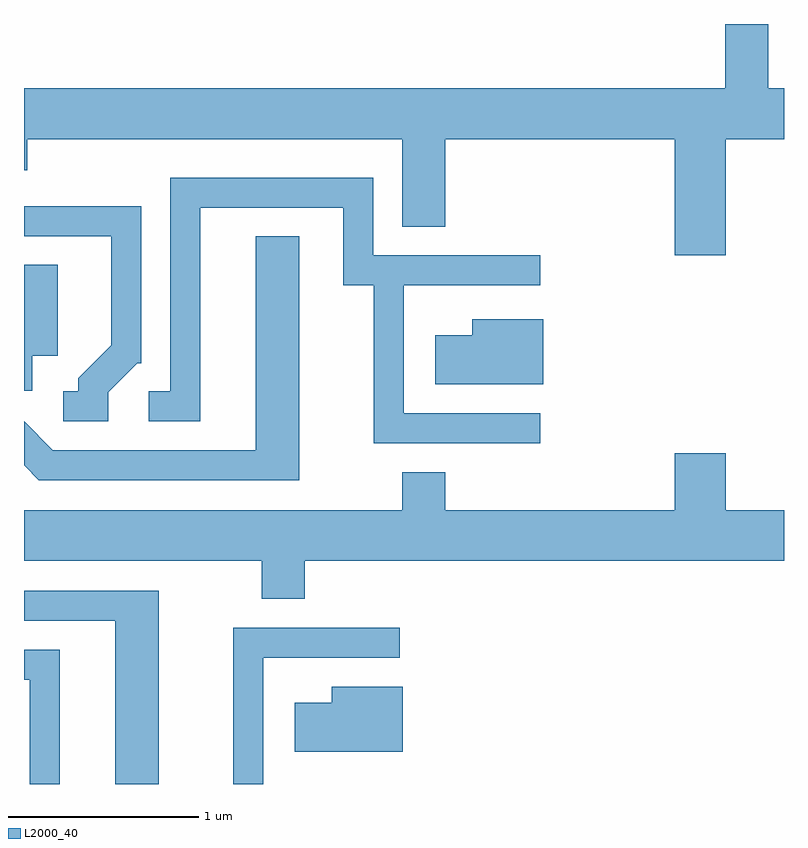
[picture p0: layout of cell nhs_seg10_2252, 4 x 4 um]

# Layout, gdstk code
import gdstk
lib = gdstk.Library(unit=1e-6, precision=1e-09)
def P(c, l, *ps):  # polygons
    for p in ps: c.add(gdstk.Polygon(p, *l))
L2000_40 = (2000, 40)

nhs_seg10_2252 = lib.new_cell('nhs_seg10_2252')
P(nhs_seg10_2252, L2000_40, [(255.304,2113.916),(255.611,2113.916),(255.611,2114.184),(255.529,2114.184),(255.529,2114.522),(255.301,2114.522),(255.301,2114.184),(251.611,2114.184),(251.611,2113.751),(251.629,2113.751),(251.629,2113.916),(253.601,2113.916),(253.601,2113.456),(253.829,2113.456),(253.829,2113.916),(255.036,2113.916),(255.036,2113.306),(255.304,2113.306)],
  [(254.328,2112.474),(253.609,2112.474),(253.609,2113.146),(254.328,2113.146),(254.328,2113.304),(253.449,2113.304),(253.449,2113.714),(252.381,2113.714),(252.381,2112.589),(252.268,2112.589),(252.268,2112.431),(252.539,2112.431),(252.539,2113.556),(253.291,2113.556),(253.291,2113.146),(253.451,2113.146),(253.451,2112.316),(254.328,2112.316)],
  [(252.054,2112.584),(252.207,2112.736),(252.229,2112.736),(252.229,2113.564),(251.611,2113.564),(251.611,2113.406),(252.071,2113.406),(252.071,2112.832),(251.896,2112.657),(251.896,2112.589),(251.818,2112.589),(251.818,2112.431),(252.054,2112.431)],
  [(253.059,2113.404),(252.831,2113.404),(252.831,2112.279),(251.762,2112.279),(251.611,2112.43),(251.611,2112.199),(251.689,2112.121),(253.059,2112.121)],
  [(251.654,2112.776),(251.789,2112.776),(251.789,2113.254),(251.611,2113.254),(251.611,2112.591),(251.654,2112.591)],
  [(254.344,2112.969),(253.971,2112.969),(253.971,2112.884),(253.776,2112.884),(253.776,2112.626),(254.344,2112.626)],
  [(253.089,2111.696),(255.611,2111.696),(255.611,2111.964),(255.304,2111.964),(255.304,2112.264),(255.036,2112.264),(255.036,2111.964),(253.829,2111.964),(253.829,2112.164),(253.601,2112.164),(253.601,2111.964),(251.611,2111.964),(251.611,2111.696),(252.861,2111.696),(252.861,2111.496),(253.089,2111.496)],
  [(252.319,2111.539),(251.611,2111.539),(251.611,2111.381),(252.091,2111.381),(252.091,2110.522),(252.319,2110.522)],
  [(252.869,2111.186),(253.588,2111.186),(253.588,2111.344),(252.711,2111.344),(252.711,2110.522),(252.869,2110.522)],
  [(251.799,2111.229),(251.611,2111.229),(251.611,2111.071),(251.641,2111.071),(251.641,2110.522),(251.799,2110.522)],
  [(253.604,2111.034),(253.231,2111.034),(253.231,2110.949),(253.036,2110.949),(253.036,2110.691),(253.604,2110.691)])

lib.write_gds('nhs_seg10_2252.gds')
